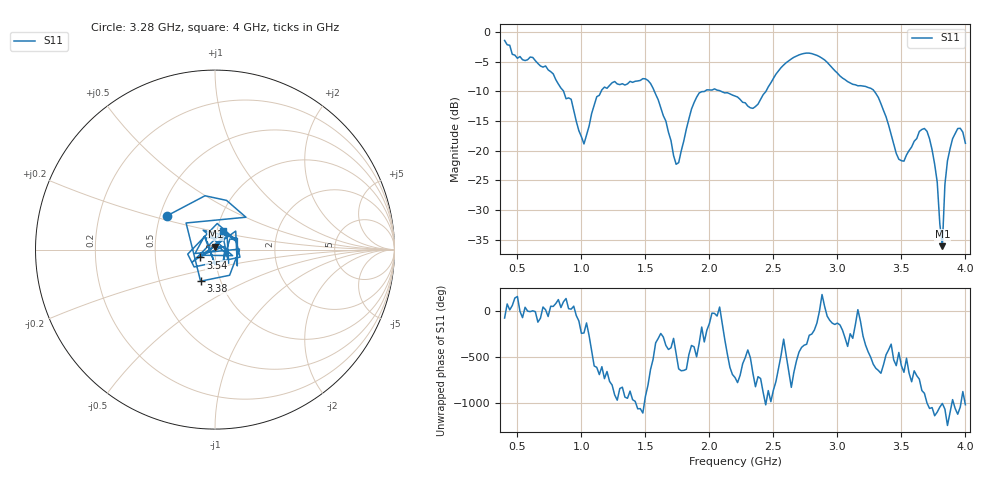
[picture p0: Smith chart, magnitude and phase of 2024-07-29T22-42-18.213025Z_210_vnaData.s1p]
!Created with skrf (http://scikit-rf.org).
# Hz S RI R 50.0
!freq ReS11 ImS11
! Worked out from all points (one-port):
!   181 points, 400 MHz to 4 GHz, reference 50 ohm
!   lowest |S11| = -36.1 dB at 3.82 GHz (marker M1), VSWR 1.03, Z = 50.2 + j1.55 ohm
!   |S11| at or under -10 dB: 1.571 GHz to 1.96 GHz (389.6 MHz wide, 22.1 % of centre); 2.094 GHz to 2.441 GHz (347.1 MHz wide, 15.3 % of centre); 3.289 GHz to end of sweep (the widest 3 of 4)
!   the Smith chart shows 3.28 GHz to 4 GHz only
!   S11 on the Smith chart (normalised r, x): 3.28 GHz: 0.55, +0.23; 3.38 GHz: 0.80, -0.29; 3.54 GHz: 0.85, -0.07; 4 GHz: 1.07, +0.23
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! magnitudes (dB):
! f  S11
! 400 MHz  -1.4
! 720 MHz  -5.7
! 860 MHz  -9.9
! 920 MHz  -11.3
! 1.02 GHz  -18.9
! 1.12 GHz  -10.9
! 1.3 GHz  -8.8
! 1.54 GHz  -8.6
! 1.76 GHz  -22.0
! 1.86 GHz  -13.0
! 1.92 GHz  -10.3
! 2.2 GHz  -10.8
! 2.34 GHz  -12.8
! 2.66 GHz  -4.2
! 2.84 GHz  -3.9
! 3.1 GHz  -8.6
! 3.28 GHz  -9.7
! 3.38 GHz  -14.3
! 3.48 GHz  -21.4
! 3.54 GHz  -20.7
! 3.56 GHz  -20.0
! 3.7 GHz  -16.7
! 3.78 GHz  -25.3
! 3.82 GHz  -36.1
! 3.84 GHz  -25.7
! 3.88 GHz  -19.7
! 3.94 GHz  -16.3
! 4 GHz  -18.7
